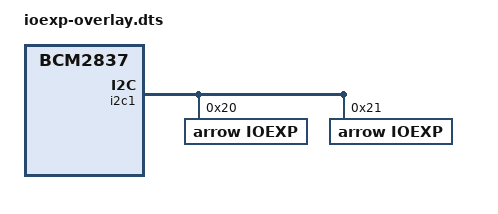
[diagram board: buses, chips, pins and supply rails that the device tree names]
/dts-v1/;
/plugin/;

/ {
	  compatible = "brcm,bcm2837";

    fragment@0 {
        target = <&i2c1>;
        __overlay__ {
          status = "okay";
          #address-cells = <1>;
          #size-cells = <0>;
          ioexp@20 {
            compatible = "arrow,ioexp";
            reg = <0x20>;
          };

          ioexp@21 {
            compatible = "arrow,ioexp";
            reg = <0x21>;
          };
        };
    };
};
